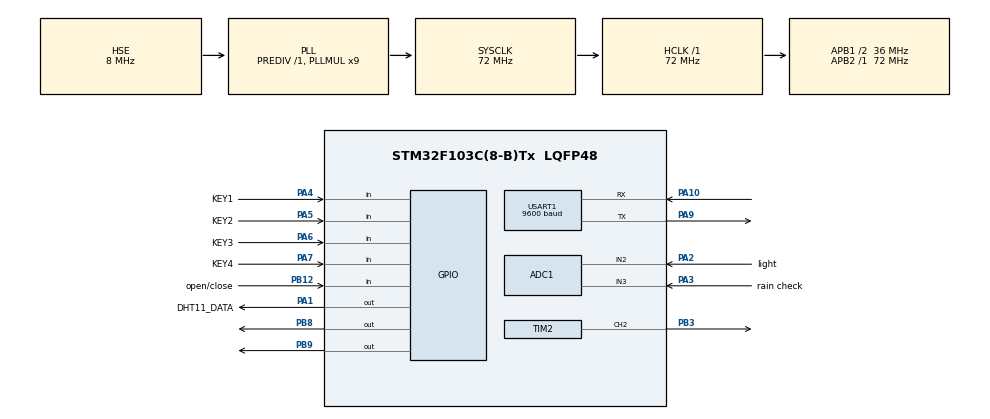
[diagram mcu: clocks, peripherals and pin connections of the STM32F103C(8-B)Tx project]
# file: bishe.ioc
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ADC1.Channel-8\#ChannelRegularConversion=ADC_CHANNEL_2
ADC1.Channel-9\#ChannelRegularConversion=ADC_CHANNEL_3
ADC1.ContinuousConvMode=DISABLE
ADC1.NbrOfConversion=2
ADC1.NbrOfConversionFlag=1
ADC1.Rank-8\#ChannelRegularConversion=1
ADC1.Rank-9\#ChannelRegularConversion=2
ADC1.SamplingTime-8\#ChannelRegularConversion=ADC_SAMPLETIME_1CYCLE_5
ADC1.SamplingTime-9\#ChannelRegularConversion=ADC_SAMPLETIME_1CYCLE_5
ADC1.master=1
Dma.ADC1.2.Direction=DMA_PERIPH_TO_MEMORY
Dma.ADC1.2.Instance=DMA1_Channel1
Dma.ADC1.2.MemDataAlignment=DMA_MDATAALIGN_HALFWORD
Dma.ADC1.2.MemInc=DMA_MINC_ENABLE
Dma.ADC1.2.Mode=DMA_NORMAL
Dma.ADC1.2.PeriphDataAlignment=DMA_PDATAALIGN_HALFWORD
Dma.ADC1.2.PeriphInc=DMA_PINC_DISABLE
Dma.ADC1.2.Priority=DMA_PRIORITY_LOW
Dma.Request0=USART1_RX
Dma.Request1=USART1_TX
Dma.Request2=ADC1
Dma.USART1_RX.0.Direction=DMA_PERIPH_TO_MEMORY
Dma.USART1_RX.0.Instance=DMA1_Channel5
Dma.USART1_RX.0.MemDataAlignment=DMA_MDATAALIGN_BYTE
Dma.USART1_RX.0.MemInc=DMA_MINC_ENABLE
Dma.USART1_RX.0.Mode=DMA_NORMAL
Dma.USART1_RX.0.PeriphDataAlignment=DMA_PDATAALIGN_BYTE
Dma.USART1_RX.0.PeriphInc=DMA_PINC_DISABLE
Dma.USART1_RX.0.Priority=DMA_PRIORITY_LOW
Dma.USART1_TX.1.Direction=DMA_MEMORY_TO_PERIPH
Dma.USART1_TX.1.Instance=DMA1_Channel4
Dma.USART1_TX.1.MemDataAlignment=DMA_MDATAALIGN_BYTE
Dma.USART1_TX.1.MemInc=DMA_MINC_ENABLE
Dma.USART1_TX.1.Mode=DMA_NORMAL
Dma.USART1_TX.1.PeriphDataAlignment=DMA_PDATAALIGN_BYTE
Dma.USART1_TX.1.PeriphInc=DMA_PINC_DISABLE
Dma.USART1_TX.1.Priority=DMA_PRIORITY_LOW
Mcu.Family=STM32F1
Mcu.Name=STM32F103C(8-B)Tx
Mcu.Package=LQFP48
NVIC.DMA1_Channel1_IRQn=true\:0\:0\:false\:false\:true\:false\:true\:true
NVIC.DMA1_Channel4_IRQn=true\:0\:0\:false\:false\:true\:false\:true\:true
NVIC.DMA1_Channel5_IRQn=true\:0\:0\:false\:false\:true\:false\:true\:true
NVIC.PriorityGroup=NVIC_PRIORITYGROUP_4
NVIC.TIM4_IRQn=true\:1\:0\:true\:false\:true\:true\:true\:true
NVIC.USART1_IRQn=true\:0\:0\:false\:false\:true\:true\:true\:true
PA1.GPIO_Label=DHT11_DATA
PA1.GPIO_ModeDefaultOutputPP=GPIO_MODE_OUTPUT_OD
PA1.GPIO_PuPd=GPIO_PULLUP
PA1.PinState=GPIO_PIN_SET
PA1.Signal=GPIO_Output
PA10.Mode=Asynchronous
PA10.Signal=USART1_RX
PA13.Mode=Serial_Wire
PA13.Signal=SYS_JTMS-SWDIO
PA14.Mode=Serial_Wire
PA14.Signal=SYS_JTCK-SWCLK
PA2.GPIO_Label=light
PA2.Signal=ADCx_IN2
PA3.GPIO_Label=rain check
PA3.Signal=ADCx_IN3
PA4.GPIO_Label=KEY1
PA4.GPIO_PuPd=GPIO_PULLUP
PA4.Signal=GPIO_Input
PA5.GPIO_Label=KEY2
PA5.GPIO_PuPd=GPIO_PULLUP
PA5.Signal=GPIO_Input
PA6.GPIO_Label=KEY3
PA6.GPIO_PuPd=GPIO_PULLUP
PA6.Signal=GPIO_Input
PA7.GPIO_Label=KEY4
PA7.GPIO_PuPd=GPIO_PULLUP
PA7.Signal=GPIO_Input
PA9.Mode=Asynchronous
PA9.Signal=USART1_TX
PB12.GPIO_Label=open/close
PB12.GPIO_PuPd=GPIO_PULLUP
PB12.Signal=GPIO_Input
PB3.Signal=S_TIM2_CH2
PB8.Signal=GPIO_Output
PB9.Signal=GPIO_Output
PC14-OSC32_IN.Mode=LSE-External-Oscillator
PC14-OSC32_IN.Signal=RCC_OSC32_IN
PC15-OSC32_OUT.Mode=LSE-External-Oscillator
PC15-OSC32_OUT.Signal=RCC_OSC32_OUT
PD0-OSC_IN.Mode=HSE-External-Oscillator
PD0-OSC_IN.Signal=RCC_OSC_IN
PD1-OSC_OUT.Mode=HSE-External-Oscillator
PD1-OSC_OUT.Signal=RCC_OSC_OUT
ProjectManager.HeapSize=0x200
ProjectManager.StackSize=0x400
ProjectManager.TargetToolchain=MDK-ARM V5.32
RCC.ADCPresc=RCC_ADCPCLK2_DIV6
RCC.AHBFreq_Value=72000000
RCC.APB1CLKDivider=RCC_HCLK_DIV2
RCC.APB1Freq_Value=36000000
RCC.APB1TimFreq_Value=72000000
RCC.APB2Freq_Value=72000000
RCC.APB2TimFreq_Value=72000000
RCC.HCLKFreq_Value=72000000
RCC.PLLMUL=RCC_PLL_MUL9
RCC.PLLSourceVirtual=RCC_PLLSOURCE_HSE
RCC.SYSCLKFreq_VALUE=72000000
RCC.SYSCLKSource=RCC_SYSCLKSOURCE_PLLCLK
RCC.USBFreq_Value=72000000
SH.ADCx_IN2.0=ADC1_IN2,IN2
SH.ADCx_IN3.0=ADC1_IN3,IN3
SH.S_TIM2_CH2.0=TIM2_CH2,PWM Generation2 CH2
TIM2.Channel-PWM\ Generation2\ CH2=TIM_CHANNEL_2
TIM2.Period=20000-1
TIM2.Prescaler=72-1
TIM4.Period=10000-1
TIM4.Prescaler=7200-1
USART1.BaudRate=9600
USART1.VirtualMode=VM_ASYNC
VP_TIM2_VS_ClockSourceINT.Mode=Internal
VP_TIM4_VS_ClockSourceINT.Mode=Internal
board=custom

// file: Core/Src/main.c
/* USER CODE BEGIN Header */
/**
  ******************************************************************************
  * @file           : main.c
  * @brief          : Main program body
  ******************************************************************************
  * @attention
  *
  * Copyright (c) 2026 STMicroelectronics.
  * All rights reserved.
  *
  * This software is licensed under terms that can be found in the LICENSE file
  * in the root directory of this software component.
  * If no LICENSE file comes with this software, it is provided AS-IS.
  *
  ******************************************************************************
  */
/* USER CODE END Header */
#include "main.h"
#include "adc.h"
#include "dma.h"
#include "tim.h"
#include "usart.h"
#include "gpio.h"

/* USER CODE BEGIN Includes */
#include "headfile.h"
/* USER CODE END Includes */

/* USER CODE BEGIN PTD */
uint8_t oled_buf[1024];

int16_t year,month,day,second,minute,hour;

/* USER CODE END PTD */

/* USER CODE BEGIN PD */
void HAL_TIM_PeriodElapsedCallback(TIM_HandleTypeDef *htim)
{
	if(htim == &htim4)
	{
		Bluetooth_SendDeviceStatus();   //发送设备状态
		second++;
		if(second >= 60)
		{
			second = 0;
			minute++;
			if(minute >= 60)
			{
				minute = 0;
				hour++;
				if(hour >= 24)
				{
					hour = 0;
          day++;
					if(day >= 30)
					{
						day = 1;
						month++;
						if(month >= 12)
						{
							month = 1;
							year++;
						}
					}
				}
			}
		}
	}
}

/* USER CODE END PD */

void SystemClock_Config(void);

int main(void)
{

  /* MCU Configuration--------------------------------------------------------*/

  /* Reset of all peripherals, Initializes the Flash interface and the Systick. */
  HAL_Init();

  /* Configure the system clock */
  SystemClock_Config();

  /* Initialize all configured peripherals */
  MX_GPIO_Init();
  MX_DMA_Init();
  MX_TIM2_Init();
  MX_USART1_UART_Init();
  MX_ADC1_Init();
  MX_TIM4_Init();
  /* USER CODE BEGIN 2 */

	HAL_TIM_Base_Start_IT(&htim4);		//启动定时器4

  year = 2026;
  month = 10;
  day = 13;
  hour = 9;
  minute = 0;
  second = 0;
	//初始化模块
	adc_init();
	Servo_Init();
	DHT11_Init();
	OLED_Init();
	Bluetooth_init();
	//从flash里获取阈值参数
	Flash_LoadThresholds();
	close();	//初始关闭舵机
  /* USER CODE END 2 */

  /* Infinite loop */
  /* USER CODE BEGIN WHILE */
  int menu2_flag;
  int menu3_flag;

  while (1)
  {
//	  demo();
	  mode();
	  Photosensitive_adc();
	  DHT11_Read();
	  int keynum = KeyGetnum();
	  main_page();
    if((keynum == 3 || keynum == 4) && page == 1)
    {
      page = 0;
      OLED_Clear();
    }
    else if((keynum == 3 || keynum == 4) && page == 0)
    {
      page = 1;
      OLED_Clear();
    }

	if(keynum == 1)
	{
		OLED_Clear();
	    menu2_flag = menu1();
	    if(menu2_flag == 1)	//模式选择
	    {
		    menu2_mode();
	    }
		else if(menu2_flag == 2)//阈值设置
		{
			menu3_flag = menu2_threshold_setting();
			menu3_threshold(menu3_flag);			//设置阈值
		}
		else if(menu2_flag == 3)//日期设置
		{
			menu2_date_setting();
		}
		else if(menu2_flag == 4)//定时设置
		{
			menu2_timer_setting();
		}
  }

    /* USER CODE END WHILE */

  }
}

void SystemClock_Config(void)
{
  RCC_OscInitTypeDef RCC_OscInitStruct = {0};
  RCC_ClkInitTypeDef RCC_ClkInitStruct = {0};
  RCC_PeriphCLKInitTypeDef PeriphClkInit = {0};

  /** Initializes the RCC Oscillators according to the specified parameters
  * in the RCC_OscInitTypeDef structure.
  */
  RCC_OscInitStruct.OscillatorType = RCC_OSCILLATORTYPE_HSE;
  RCC_OscInitStruct.HSEState = RCC_HSE_ON;
  RCC_OscInitStruct.HSEPredivValue = RCC_HSE_PREDIV_DIV1;
  RCC_OscInitStruct.HSIState = RCC_HSI_ON;
  RCC_OscInitStruct.PLL.PLLState = RCC_PLL_ON;
  RCC_OscInitStruct.PLL.PLLSource = RCC_PLLSOURCE_HSE;
  RCC_OscInitStruct.PLL.PLLMUL = RCC_PLL_MUL9;
  if (HAL_RCC_OscConfig(&RCC_OscInitStruct) != HAL_OK)
  {
    Error_Handler();
  }

  /** Initializes the CPU, AHB and APB buses clocks
  */
  RCC_ClkInitStruct.ClockType = RCC_CLOCKTYPE_HCLK|RCC_CLOCKTYPE_SYSCLK
                              |RCC_CLOCKTYPE_PCLK1|RCC_CLOCKTYPE_PCLK2;
  RCC_ClkInitStruct.SYSCLKSource = RCC_SYSCLKSOURCE_PLLCLK;
  RCC_ClkInitStruct.AHBCLKDivider = RCC_SYSCLK_DIV1;
  RCC_ClkInitStruct.APB1CLKDivider = RCC_HCLK_DIV2;
  RCC_ClkInitStruct.APB2CLKDivider = RCC_HCLK_DIV1;

  if (HAL_RCC_ClockConfig(&RCC_ClkInitStruct, FLASH_LATENCY_2) != HAL_OK)
  {
    Error_Handler();
  }
  PeriphClkInit.PeriphClockSelection = RCC_PERIPHCLK_ADC;
  PeriphClkInit.AdcClockSelection = RCC_ADCPCLK2_DIV6;
  if (HAL_RCCEx_PeriphCLKConfig(&PeriphClkInit) != HAL_OK)
  {
    Error_Handler();
  }
}

void Error_Handler(void)
{
  __disable_irq();
  while (1)
  {
  }
}
